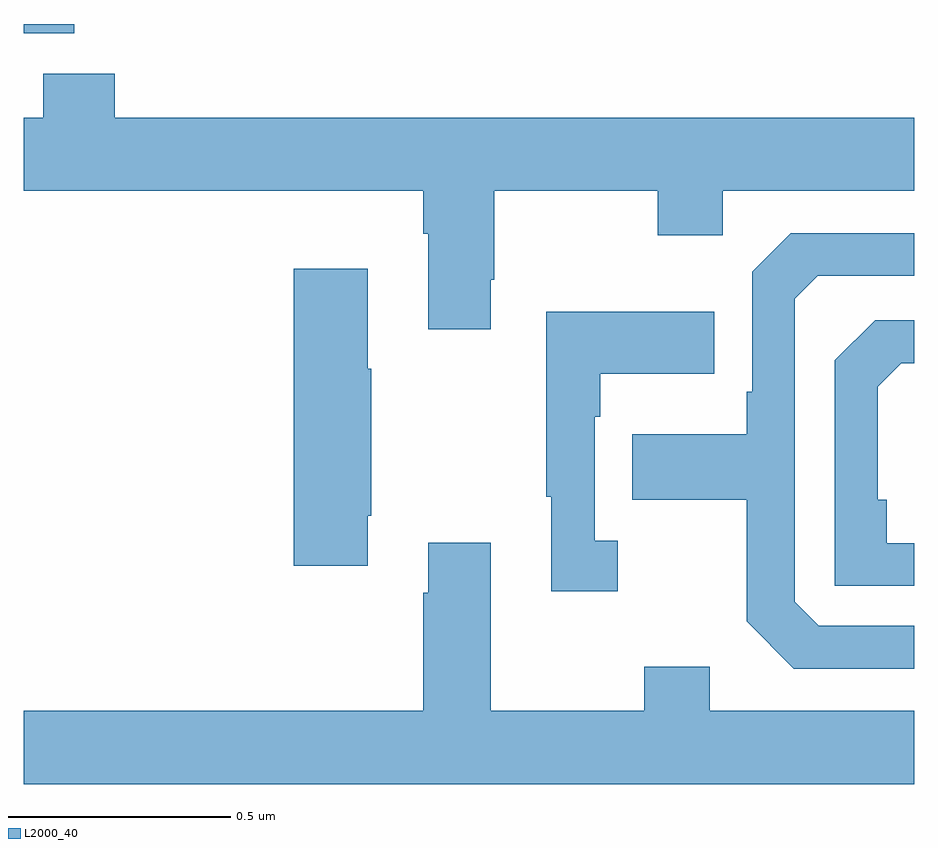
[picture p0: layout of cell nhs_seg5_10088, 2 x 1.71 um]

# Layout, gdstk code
import gdstk
lib = gdstk.Library(unit=1e-6, precision=1e-09)
def R(c, l, rs):  # rectangles x0, y0, x1, y1
    for r in rs: c.add(gdstk.rectangle(r[:2], r[2:], *l))
def P(c, l, *ps):  # polygons
    for p in ps: c.add(gdstk.Polygon(p, *l))
L2000_40 = (2000, 40)

nhs_seg5_10088 = lib.new_cell('nhs_seg5_10088')
R(nhs_seg5_10088, L2000_40, [(242,859.778,242.113,859.799)])
P(nhs_seg5_10088, L2000_40, [(243.049,859.225),(243.057,859.225),(243.057,859.424),(243.424,859.424),(243.424,859.325),(243.57,859.325),(243.57,859.424),(244,859.424),(244,859.588),(242.204,859.588),(242.204,859.687),(242.044,859.687),(242.044,859.588),(242,859.588),(242,859.424),(242.897,859.424),(242.897,859.328),(242.909,859.328),(242.909,859.113),(243.049,859.113)],
  [(244,858.447),(243.786,858.447),(243.732,858.501),(243.732,859.182),(243.783,859.233),(244,859.233),(244,859.329),(243.723,859.329),(243.636,859.242),(243.636,858.973),(243.624,858.973),(243.624,858.877),(243.367,858.877),(243.367,858.73),(243.624,858.73),(243.624,858.457),(243.729,858.351),(244,858.351)],
  [(242.773,858.694),(242.781,858.694),(242.781,859.025),(242.773,859.025),(242.773,859.249),(242.606,859.249),(242.606,858.582),(242.773,858.582)],
  [(243.334,858.638),(243.282,858.638),(243.282,858.917),(243.295,858.917),(243.295,859.013),(243.551,859.013),(243.551,859.153),(243.174,859.153),(243.174,858.737),(243.185,858.737),(243.185,858.525),(243.334,858.525)],
  [(244,858.633),(243.938,858.633),(243.938,858.73),(243.918,858.73),(243.918,858.984),(243.971,859.037),(244,859.037),(244,859.134),(243.912,859.134),(243.822,859.044),(243.822,858.537),(244,858.537)],
  [(244,858.256),(243.541,858.256),(243.541,858.355),(243.394,858.355),(243.394,858.256),(243.049,858.256),(243.049,858.634),(242.909,858.634),(242.909,858.521),(242.897,858.521),(242.897,858.256),(242,858.256),(242,858.092),(244,858.092)])

lib.write_gds('nhs_seg5_10088.gds')
